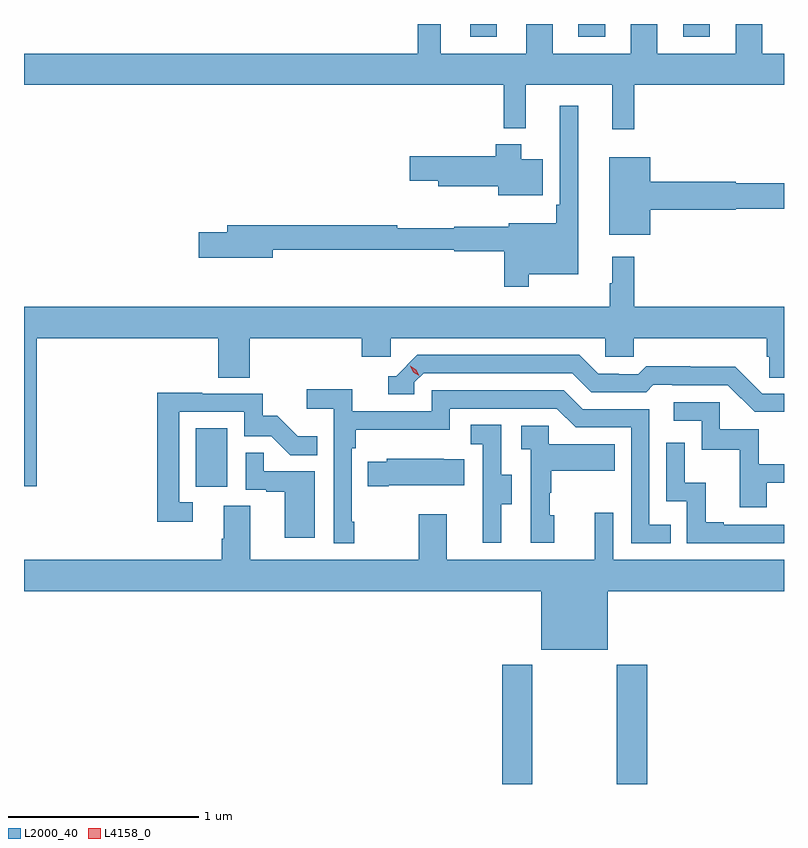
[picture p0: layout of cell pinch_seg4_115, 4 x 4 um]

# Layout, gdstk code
import gdstk
lib = gdstk.Library(unit=1e-6, precision=1e-09)
def R(c, l, rs):  # rectangles x0, y0, x1, y1
    for r in rs: c.add(gdstk.rectangle(r[:2], r[2:], *l))
def P(c, l, *ps):  # polygons
    for p in ps: c.add(gdstk.Polygon(p, *l))
L2000_40 = (2000, 40)
L4158_0 = (4158, 0)

pinch_seg4_115 = lib.new_cell('pinch_seg4_115')
R(pinch_seg4_115, L2000_40, [(1073.135,802.465,1073.295,803.092), (1073.74,802.465,1073.9,803.092), (1071.524,804.03,1071.688,804.337), (1072.967,806.397,1073.107,806.465), (1073.537,806.397,1073.677,806.465), (1074.089,806.397,1074.229,806.465)])
P(pinch_seg4_115, L2000_40, [(1073.831,806.144),(1074.619,806.144),(1074.619,806.308),(1074.505,806.308),(1074.505,806.465),(1074.365,806.465),(1074.365,806.308),(1073.953,806.308),(1073.953,806.465),(1073.813,806.465),(1073.813,806.308),(1073.401,806.308),(1073.401,806.465),(1073.262,806.465),(1073.262,806.308),(1072.813,806.308),(1072.813,806.465),(1072.692,806.465),(1072.692,806.308),(1070.619,806.308),(1070.619,806.144),(1073.143,806.144),(1073.143,805.916),(1073.261,805.916),(1073.261,806.144),(1073.714,806.144),(1073.714,805.911),(1073.831,805.911)],
  [(1073.275,805.148),(1073.536,805.148),(1073.536,806.035),(1073.439,806.035),(1073.439,805.513),(1073.419,805.513),(1073.419,805.417),(1073.169,805.417),(1073.169,805.399),(1072.884,805.399),(1072.884,805.389),(1072.584,805.389),(1072.584,805.406),(1071.689,805.406),(1071.689,805.37),(1071.54,805.37),(1071.54,805.235),(1071.928,805.235),(1071.928,805.278),(1072.884,805.278),(1072.884,805.27),(1073.146,805.27),(1073.146,805.083),(1073.275,805.083)],
  [(1073.35,805.753),(1073.236,805.753),(1073.236,805.831),(1073.102,805.831),(1073.102,805.77),(1072.65,805.77),(1072.65,805.64),(1072.799,805.64),(1072.799,805.61),(1073.114,805.61),(1073.114,805.565),(1073.35,805.565)],
  [(1073.914,805.487),(1074.366,805.487),(1074.366,805.492),(1074.619,805.492),(1074.619,805.628),(1074.366,805.628),(1074.366,805.634),(1073.914,805.634),(1073.914,805.765),(1073.699,805.765),(1073.699,805.355),(1073.914,805.355)],
  [(1070.687,804.812),(1071.641,804.812),(1071.641,804.604),(1071.806,804.604),(1071.806,804.812),(1072.397,804.812),(1072.397,804.714),(1072.548,804.714),(1072.548,804.812),(1073.679,804.812),(1073.679,804.714),(1073.829,804.714),(1073.829,804.812),(1074.527,804.812),(1074.527,804.714),(1074.541,804.714),(1074.541,804.604),(1074.619,804.604),(1074.619,804.976),(1073.831,804.976),(1073.831,805.24),(1073.714,805.24),(1073.714,805.1),(1073.703,805.1),(1073.703,804.976),(1070.619,804.976),(1070.619,804.033),(1070.687,804.033)],
  [(1074.619,804.519),(1074.504,804.519),(1074.362,804.661),(1074.126,804.661),(1074.126,804.664),(1073.893,804.664),(1073.851,804.621),(1073.748,804.621),(1073.748,804.624),(1073.641,804.624),(1073.542,804.723),(1072.689,804.723),(1072.578,804.612),(1072.535,804.612),(1072.535,804.516),(1072.674,804.516),(1072.674,804.579),(1072.722,804.627),(1073.505,804.627),(1073.604,804.528),(1073.893,804.528),(1073.932,804.567),(1074.031,804.567),(1074.031,804.564),(1074.324,804.564),(1074.465,804.423),(1074.619,804.423)],
  [(1072.357,803.845),(1072.344,803.845),(1072.344,804.233),(1072.364,804.233),(1072.364,804.329),(1072.86,804.329),(1072.86,804.441),(1073.424,804.441),(1073.523,804.342),(1073.814,804.342),(1073.814,803.733),(1074.023,803.733),(1074.023,803.829),(1073.91,803.829),(1073.91,804.438),(1073.56,804.438),(1073.461,804.537),(1072.764,804.537),(1072.764,804.426),(1072.346,804.426),(1072.346,804.542),(1072.107,804.542),(1072.107,804.44),(1072.248,804.44),(1072.248,803.733),(1072.357,803.733)],
  [(1071.508,803.949),(1071.435,803.949),(1071.435,804.423),(1071.777,804.423),(1071.777,804.294),(1071.921,804.294),(1072.019,804.196),(1072.163,804.196),(1072.163,804.295),(1072.059,804.295),(1071.952,804.402),(1071.876,804.402),(1071.876,804.519),(1071.557,804.519),(1071.557,804.524),(1071.319,804.524),(1071.319,803.844),(1071.508,803.844)],
  [(1074.529,804.051),(1074.619,804.051),(1074.619,804.147),(1074.487,804.147),(1074.487,804.333),(1074.282,804.333),(1074.282,804.474),(1074.039,804.474),(1074.039,804.378),(1074.186,804.378),(1074.186,804.225),(1074.385,804.225),(1074.385,803.922),(1074.529,803.922)],
  [(1073.131,803.938),(1073.185,803.938),(1073.185,804.093),(1073.13,804.093),(1073.13,804.356),(1072.971,804.356),(1072.971,804.253),(1073.034,804.253),(1073.034,803.949),(1073.033,803.949),(1073.033,803.736),(1073.131,803.736)],
  [(1073.41,803.88),(1073.385,803.88),(1073.385,803.999),(1073.395,803.999),(1073.395,804.113),(1073.729,804.113),(1073.729,804.253),(1073.382,804.253),(1073.382,804.351),(1073.235,804.351),(1073.235,804.227),(1073.286,804.227),(1073.286,803.736),(1073.41,803.736)],
  [(1074.619,803.829),(1074.301,803.829),(1074.301,803.842),(1074.206,803.842),(1074.206,804.05),(1074.096,804.05),(1074.096,804.262),(1074,804.262),(1074,803.952),(1074.108,803.952),(1074.108,803.733),(1074.619,803.733)],
  [(1072.15,804.111),(1071.881,804.111),(1071.881,804.209),(1071.786,804.209),(1071.786,804.015),(1071.893,804.015),(1071.893,804.003),(1071.992,804.003),(1071.992,803.76),(1072.15,803.76)],
  [(1072.54,804.038),(1072.937,804.038),(1072.937,804.175),(1072.829,804.175),(1072.829,804.178),(1072.527,804.178),(1072.527,804.16),(1072.429,804.16),(1072.429,804.031),(1072.54,804.031)],
  [(1073.692,803.48),(1074.619,803.48),(1074.619,803.644),(1073.721,803.644),(1073.721,803.893),(1073.624,803.893),(1073.624,803.644),(1072.843,803.644),(1072.843,803.884),(1072.696,803.884),(1072.696,803.644),(1071.811,803.644),(1071.811,803.93),(1071.671,803.93),(1071.671,803.756),(1071.659,803.756),(1071.659,803.644),(1070.619,803.644),(1070.619,803.48),(1073.342,803.48),(1073.342,803.171),(1073.692,803.171)])
P(pinch_seg4_115, L4158_0, [(1072.699,804.613),(1072.668,804.633),(1072.651,804.666),(1072.651,804.666),(1072.652,804.666),(1072.683,804.646),(1072.699,804.614),(1072.699,804.613)])

lib.write_gds('pinch_seg4_115.gds')
